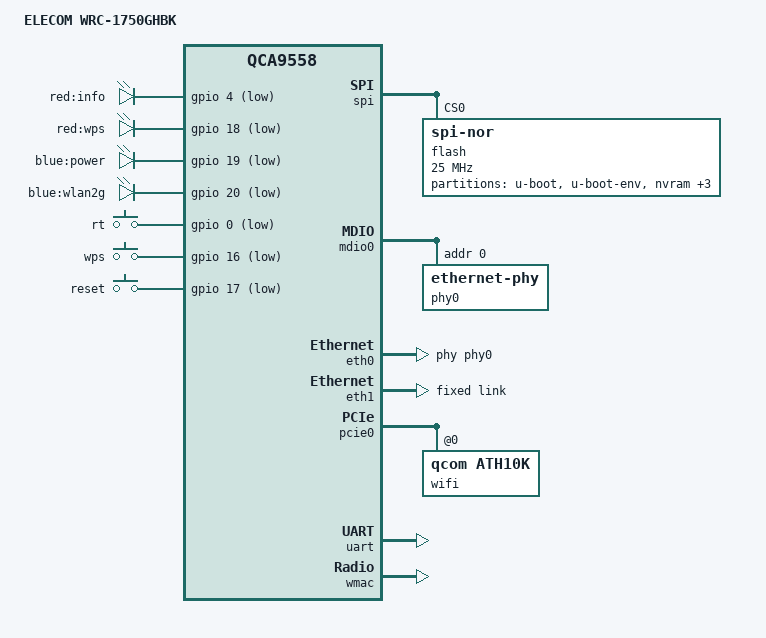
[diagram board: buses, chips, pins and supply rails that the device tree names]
// SPDX-License-Identifier: GPL-2.0-or-later OR MIT
/dts-v1/;

#include <dt-bindings/gpio/gpio.h>
#include <dt-bindings/input/input.h>

#include "qca955x.dtsi"

/ {
	compatible = "elecom,wrc-1750ghbk", "qca,qca9558";
	model = "ELECOM WRC-1750GHBK";

	aliases {
		led-boot = &led_power;
		led-failsafe = &led_power;
		led-running = &led_power;
		led-upgrade = &led_power;
	};

	leds {
		compatible = "gpio-leds";
		pinctrl-names = "default";
		pinctrl-0 = <&jtag_disable_pins>;

		info {
			label = "red:info";
			gpios = <&gpio 4 GPIO_ACTIVE_LOW>;
		};

		wps {
			label = "red:wps";
			gpios = <&gpio 18 GPIO_ACTIVE_LOW>;
		};

		led_power: power {
			label = "blue:power";
			gpios = <&gpio 19 GPIO_ACTIVE_LOW>;
			default-state = "on";
		};

		wlan2g {
			label = "blue:wlan2g";
			gpios = <&gpio 20 GPIO_ACTIVE_LOW>;
			linux,default-trigger = "phy1tpt";
		};
	};

	keys {
		compatible = "gpio-keys";

		router {
			label = "rt";
			gpios = <&gpio 0 GPIO_ACTIVE_LOW>;
			linux,code = <BTN_0>;
			linux,input-type = <EV_SW>;
			debounce-interval = <60>;
		};

		wps {
			label = "wps";
			gpios = <&gpio 16 GPIO_ACTIVE_LOW>;
			linux,code = <KEY_WPS_BUTTON>;
			debounce-interval = <60>;
		};

		reset {
			label = "reset";
			gpios = <&gpio 17 GPIO_ACTIVE_LOW>;
			linux,code = <KEY_RESTART>;
			debounce-interval = <60>;
		};
	};
};

&spi {
	status = "okay";

	num-cs = <1>;

	flash@0 {
		compatible = "jedec,spi-nor";
		reg = <0>;
		spi-max-frequency = <25000000>;

		partitions {
			compatible = "fixed-partitions";
			#address-cells = <1>;
			#size-cells = <1>;

			partition@0 {
				label = "u-boot";
				reg = <0x000000 0x040000>;
				read-only;
			};

			partition@40000 {
				label = "u-boot-env";
				reg = <0x040000 0x010000>;
				read-only;
			};

			partition@50000 {
				label = "nvram";
				reg = <0x050000 0x020000>;
				read-only;
			};

			partition@70000 {
/*				compatible = "openwrt,uimage", "denx,uimage";
				openwrt,offset = <20>;
				openwrt,partition-magic = <0x43535953>;*/
				compatible = "edimax,uimage";
				label = "firmware";
				reg = <0x070000 0xf70000>;
			};

			partition@fe0000 {
				label = "hwconfig";
				reg = <0xfe0000 0x10000>;
				read-only;
			};

			art: partition@ff0000 {
				label = "art";
				reg = <0xff0000 0x010000>;
				read-only;
			};
		};
	};
};

&mdio0 {
	status = "okay";

	phy0: ethernet-phy@0 {
		reg = <0>;

		qca,ar8327-initvals = <
			0x04 0x00000080 /* PORT0 PAD MODE CTRL */
			0x0c 0x07600000 /* PORT6 PAD MODE CTRL */
			0x50 0xcf37cf37 /* LED_CTRL0 */
			0x54 0x00000000 /* LED_CTRL1 */
			0x58 0x00000000 /* LED_CTRL2 */
			0x5c 0x03ffff00 /* LED_CTRL3 */
			0x7c 0x0000007e /* PORT0 STATUS */
			0x94 0x0000007e /* PORT6 STATUS */
		>;
	};
};

&eth0 {
	status = "okay";

	pll-data = <0x5a000000 0x00000101 0x00001616>;
	phy-handle = <&phy0>;
};

&eth1 {
	status = "okay";

	pll-data = <0x03000101 0x00000101 0x00001616>;

	fixed-link {
		speed = <1000>;
		full-duplex;
	};
};

&pcie0 {
	status = "okay";

	wifi@0,0 {
		compatible = "qcom,ath10k";
		reg = <0x0000 0 0 0 0>;
	};
};

&uart {
	status = "okay";
};

&wmac {
	status = "okay";

	qca,no-eeprom;
};
